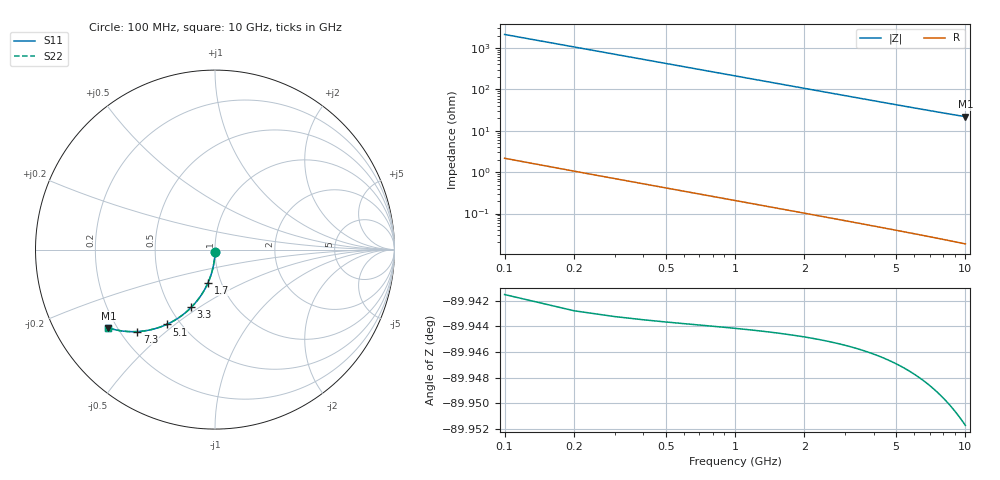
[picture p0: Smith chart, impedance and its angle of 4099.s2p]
# Hz S RI R 50.00
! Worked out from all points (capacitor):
!   100 points, 100 MHz to 10 GHz, reference 50 ohm
!   read as one part in shunt: C = 751 fF near 100 MHz
!   lowest |Z| = 21.9 ohm at 10 GHz (marker M1)
!   S11 on the Smith chart (normalised r, x): 100 MHz: 1.00, -0.02; 1.7 GHz: 0.87, -0.33; 3.3 GHz: 0.63, -0.46; 5.1 GHz: 0.42, -0.47; 7.3 GHz: 0.27, -0.40; 10 GHz: 0.17, -0.32
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1e8  -4.72e-05 -0.0113  0.9997 -0.0123  0.9997 -0.0123  -4.72e-05 -0.0113
2e8  -0.000474 -0.0225  0.9993 -0.0246  0.9993 -0.0246  -0.000474 -0.0225
3e8  -0.00118 -0.0338  0.9986 -0.0369  0.9986 -0.0369  -0.00118 -0.0338
4e8  -0.00216 -0.045  0.9976 -0.0491  0.9976 -0.0491  -0.00216 -0.045
5e8  -0.00341 -0.0562  0.9964 -0.0613  0.9964 -0.0613  -0.00341 -0.0562
6e8  -0.00494 -0.0673  0.9948 -0.0735  0.9948 -0.0735  -0.00494 -0.0673
8e8  -0.0088 -0.0894  0.991 -0.0976  0.991 -0.0976  -0.0088 -0.0894
9e8  -0.0111 -0.1003  0.9886 -0.1096  0.9886 -0.1096  -0.0111 -0.1003
1.1e9  -0.0166 -0.122  0.9832 -0.1333  0.9832 -0.1333  -0.0166 -0.122
1.4e9  -0.0266 -0.1536  0.9731 -0.1681  0.9731 -0.1681  -0.0266 -0.1536
1.7e9  -0.0388 -0.1842  0.9609 -0.2017  0.9609 -0.2017  -0.0388 -0.1842
1.8e9  -0.0433 -0.1941  0.9564 -0.2127  0.9564 -0.2127  -0.0433 -0.1941
2.1e9  -0.058 -0.2229  0.9415 -0.2446  0.9415 -0.2446  -0.058 -0.2229
2.5e9  -0.0804 -0.2589  0.919 -0.2848  0.919 -0.2848  -0.0804 -0.2589
3.3e9  -0.1326 -0.3219  0.8666 -0.3561  0.8666 -0.3561  -0.1326 -0.3219
3.4e9  -0.1396 -0.3289  0.8595 -0.3642  0.8595 -0.3642  -0.1396 -0.3289
4.2e9  -0.1991 -0.3774  0.7997 -0.4211  0.7997 -0.4211  -0.1991 -0.3774
5.1e9  -0.2691 -0.4168  0.7292 -0.4701  0.7292 -0.4701  -0.2691 -0.4168
6.7e9  -0.3908 -0.4525  0.6064 -0.523  0.6064 -0.523  -0.3908 -0.4525
7.3e9  -0.4333 -0.4567  0.5635 -0.5338  0.5635 -0.5338  -0.4333 -0.4567
8.4e9  -0.5048 -0.4548  0.4909 -0.5441  0.4909 -0.5441  -0.5048 -0.4548
1e10  -0.5936 -0.4363  0.4004 -0.5438  0.4004 -0.5438  -0.5936 -0.4363
